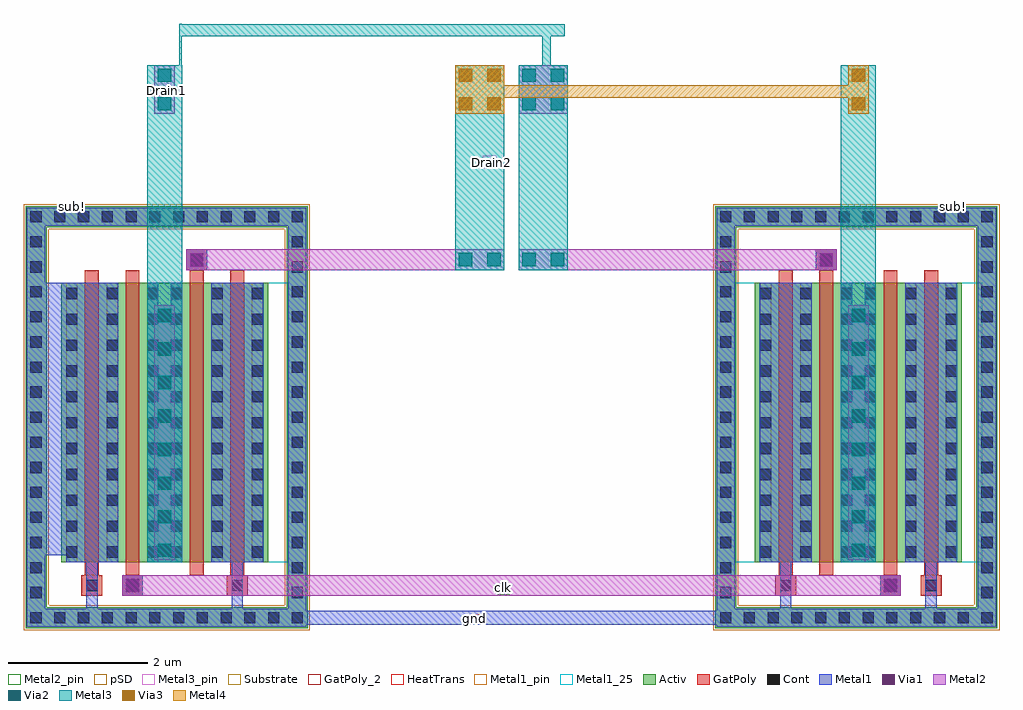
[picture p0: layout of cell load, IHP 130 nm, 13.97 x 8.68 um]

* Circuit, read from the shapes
.subckt load Drain1 Drain2 clk gnd
XM1 gnd gnd gnd gnd sg13_lv_nmos w=4u l=0.2u m=4
XM2 Drain1 clk gnd gnd sg13_lv_nmos w=4u l=0.2u
XM3 gnd Drain2 Drain1 gnd sg13_lv_nmos w=4u l=0.2u
XM4 Drain2 Drain1 gnd gnd sg13_lv_nmos w=4u l=0.2u
XM5 gnd clk Drain2 gnd sg13_lv_nmos w=4u l=0.2u
.ends

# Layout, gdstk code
from math import pi, radians
import gdstk
lib = gdstk.Library(unit=1e-6, precision=1e-09)
def R(c, l, rs):  # rectangles x0, y0, x1, y1
    for r in rs: c.add(gdstk.rectangle(r[:2], r[2:], *l))
def A(c, l, x, y, w, h, nx, ny, dx, dy):  # array of equal rectangles
    R(c, l, [(x+i*dx, y+j*dy, x+i*dx+w, y+j*dy+h) for i in range(nx) for j in range(ny)])
def P(c, l, *ps):  # polygons
    for p in ps: c.add(gdstk.Polygon(p, *l))
Activ = (1, 0)
GatPoly = (5, 0)
GatPoly_2 = (5, 2)
Cont = (6, 0)
Metal1 = (8, 0)
Metal1_pin = (8, 2)
Metal1_25 = (8, 25)
Metal2 = (10, 0)
Metal2_pin = (10, 2)
pSD = (14, 0)
Via1 = (19, 0)
Via2 = (29, 0)
Metal3 = (30, 0)
Metal3_pin = (30, 2)
Substrate = (40, 0)
Via3 = (49, 0)
Metal4 = (50, 0)
HeatTrans = (51, 0)

nmos_1 = lib.new_cell('nmos$1')
R(nmos_1, Activ, [(0,0,0.3,0.3), (0,0,0.88,4), (0.58,0,0.88,0.3)])
R(nmos_1, GatPoly, [(0.34,-0.18,0.54,4.18)])
R(nmos_1, GatPoly_2, [(0.34,-0.18,0.54,4.18)])
A(nmos_1, Cont, 0.07, 0.07, 0.16, 0.16, 1, 11, 0, 0.37)
A(nmos_1, Cont, 0.65, 0.07, 0.16, 0.16, 1, 11, 0, 0.37)
R(nmos_1, Metal1, [(0.07,0,0.23,4), (0.65,0,0.81,4)])
R(nmos_1, Metal1_pin, [(0.07,0,0.23,4), (0.65,0,0.81,4)])
R(nmos_1, HeatTrans, [(0.34,-0.18,0.54,4.18)])
nmos_1.add(gdstk.Label('nmos', (0.44,2), layer=63, texttype=0))
nmos_1.add(gdstk.Label('nmos', (0.44,2), layer=51, texttype=0))

via_stack_8 = lib.new_cell('via_stack$8')
R(via_stack_8, Metal1, [(-0.145,-1.825,0.145,1.825)])
R(via_stack_8, Metal2, [(-0.145,-1.825,0.145,1.825)])
A(via_stack_8, Via1, -0.095, -1.775, 0.19, 0.19, 1, 8, 0, 0.48)
A(via_stack_8, Via2, -0.095, -1.775, 0.19, 0.19, 1, 8, 0, 0.48)
R(via_stack_8, Metal3, [(-0.145,-1.825,0.145,1.825)])

gring = lib.new_cell('gring')
P(gring, Activ, [(0.03,0.03),(0.03,5.77),(0.33,5.77),(0.33,0.33),(3.77,0.33),(3.77,5.77),(0.03,5.77),(0.03,6.07),(4.07,6.07),(4.07,0.03)])
A(gring, Cont, 0.1, 0.1, 0.16, 0.16, 12, 2, 0.34, 5.74)
A(gring, Cont, 0.1, 0.815, 0.16, 0.16, 1, 4, 0, 0.36)
A(gring, Cont, 3.84, 0.815, 0.16, 0.16, 1, 4, 0, 0.36)
A(gring, Cont, 0.1, 2.25, 0.16, 0.16, 1, 4, 0, 0.36)
A(gring, Cont, 3.84, 2.25, 0.16, 0.16, 1, 4, 0, 0.36)
A(gring, Cont, 0.1, 3.685, 0.16, 0.16, 1, 4, 0, 0.36)
A(gring, Cont, 3.84, 3.685, 0.16, 0.16, 1, 4, 0, 0.36)
A(gring, Cont, 0.1, 5.12, 0.16, 0.16, 1, 3, 0, 0.36)
A(gring, Cont, 3.84, 5.12, 0.16, 0.16, 1, 3, 0, 0.36)
R(gring, Cont, [(0.1,0.1,0.26,0.26), (3.84,0.1,4,0.26), (0.1,0.46,0.26,0.62), (3.84,0.46,4,0.62)])
P(gring, Metal1, [(0.05,0.05),(0.05,5.79),(0.31,5.79),(0.31,0.31),(3.79,0.31),(3.79,5.79),(0.05,5.79),(0.05,6.05),(4.05,6.05),(4.05,0.05)])
P(gring, pSD, [(0,0),(0,5.74),(0.36,5.74),(0.36,0.36),(3.74,0.36),(3.74,5.74),(0,5.74),(0,6.1),(4.1,6.1),(4.1,0)])

via_stack = lib.new_cell('via_stack')
R(via_stack, Metal2, [(-0.35,-0.145,0.35,0.145)])
R(via_stack, Via2, [(-0.3,-0.095,-0.11,0.095), (0.11,-0.095,0.3,0.095)])
R(via_stack, Metal3, [(-0.35,-0.145,0.35,0.145)])

via_stack_7 = lib.new_cell('via_stack$7')
R(via_stack_7, Metal3, [(-0.35,-0.35,0.35,0.35)])
R(via_stack_7, Via3, [(-0.3,-0.3,-0.11,-0.11), (0.11,-0.3,0.3,-0.11), (-0.3,0.11,-0.11,0.3), (0.11,0.11,0.3,0.3)])
R(via_stack_7, Metal4, [(-0.35,-0.35,0.35,0.35)])

via_stack_4 = lib.new_cell('via_stack$4')
R(via_stack_4, Metal2, [(-0.145,-0.35,0.145,0.35)])
R(via_stack_4, Via2, [(-0.095,-0.3,0.095,-0.11), (-0.095,0.11,0.095,0.3)])
R(via_stack_4, Metal3, [(-0.145,-0.35,0.145,0.35)])

via_stack_5 = lib.new_cell('via_stack$5')
R(via_stack_5, Metal3, [(-0.145,-0.35,0.145,0.35)])
R(via_stack_5, Via3, [(-0.095,-0.3,0.095,-0.11), (-0.095,0.11,0.095,0.3)])
R(via_stack_5, Metal4, [(-0.145,-0.35,0.145,0.35)])

via_stack_6 = lib.new_cell('via_stack$6')
R(via_stack_6, Metal2, [(-0.35,-0.35,0.35,0.35)])
R(via_stack_6, Via2, [(-0.3,-0.3,-0.11,-0.11), (0.11,-0.3,0.3,-0.11), (-0.3,0.11,-0.11,0.3), (0.11,0.11,0.3,0.3)])
R(via_stack_6, Metal3, [(-0.35,-0.35,0.35,0.35)])

load = lib.new_cell('load')
R(load, Activ, [(5.105,9.08,5.145,11.08), (5.105,9.08,5.145,11.08), (5.105,9.08,5.145,11.08), (5.105,9.08,5.145,11.08), (6.025,9.08,6.065,11.08), (6.025,9.08,6.065,11.08), (6.025,9.08,6.065,13.08), (6.025,9.08,6.065,13.08), (6.945,9.08,6.985,11.08), (6.945,9.08,6.985,11.08), (6.945,9.08,6.985,11.08), (6.945,9.08,6.985,11.08), (15.035,9.08,15.075,11.08), (15.035,9.08,15.075,11.08), (15.035,9.08,15.075,11.08), (15.035,9.08,15.075,11.08), (15.955,9.08,15.995,11.08), (15.955,9.08,15.995,11.08), (15.955,9.08,15.995,13.08), (15.955,9.08,15.995,13.08), (16.875,9.08,16.915,11.08), (16.875,9.08,16.915,11.08), (16.875,9.08,16.915,11.08), (16.875,9.08,16.915,11.08)])
R(load, GatPoly, [(4.855,8.6,5.155,8.9), (4.855,8.6,5.155,8.9), (4.855,8.6,5.155,8.9), (4.855,8.6,5.155,8.9), (5.435,8.6,5.735,8.9), (5.435,8.6,5.735,8.9), (5.435,8.6,5.735,8.9), (5.435,8.6,5.735,8.9), (6.935,8.6,7.235,8.9), (6.935,8.6,7.235,8.9), (6.935,8.6,7.235,8.9), (6.935,8.6,7.235,8.9), (14.785,8.6,15.085,8.9), (14.785,8.6,15.085,8.9), (14.785,8.6,15.085,8.9), (14.785,8.6,15.085,8.9), (16.285,8.6,16.585,8.9), (16.285,8.6,16.585,8.9), (16.285,8.6,16.585,8.9), (16.285,8.6,16.585,8.9), (16.865,8.6,17.165,8.9), (16.865,8.6,17.165,8.9), (16.865,8.6,17.165,8.9), (16.865,8.6,17.165,8.9), (6.355,13.26,6.655,13.56), (6.355,13.26,6.655,13.56), (6.355,13.26,6.655,13.56), (6.355,13.26,6.655,13.56), (15.365,13.26,15.665,13.56), (15.365,13.26,15.665,13.56), (15.365,13.26,15.665,13.56), (15.365,13.26,15.665,13.56)])
R(load, Cont, [(4.925,8.67,5.085,8.83), (4.925,8.67,5.085,8.83), (4.925,8.67,5.085,8.83), (4.925,8.67,5.085,8.83), (5.505,8.67,5.665,8.83), (5.505,8.67,5.665,8.83), (5.505,8.67,5.665,8.83), (5.505,8.67,5.665,8.83), (7.005,8.67,7.165,8.83), (7.005,8.67,7.165,8.83), (7.005,8.67,7.165,8.83), (7.005,8.67,7.165,8.83), (14.855,8.67,15.015,8.83), (14.855,8.67,15.015,8.83), (14.855,8.67,15.015,8.83), (14.855,8.67,15.015,8.83), (16.355,8.67,16.515,8.83), (16.355,8.67,16.515,8.83), (16.355,8.67,16.515,8.83), (16.355,8.67,16.515,8.83), (16.935,8.67,17.095,8.83), (16.935,8.67,17.095,8.83), (16.935,8.67,17.095,8.83), (16.935,8.67,17.095,8.83), (6.425,13.33,6.585,13.49), (6.425,13.33,6.585,13.49), (6.425,13.33,6.585,13.49), (6.425,13.33,6.585,13.49), (15.435,13.33,15.595,13.49), (15.435,13.33,15.595,13.49), (15.435,13.33,15.595,13.49), (15.435,13.33,15.595,13.49)])
R(load, Metal1, [(7.855,8.19,14.235,8.39), (4.925,8.42,5.085,9.08), (7.005,8.42,7.165,9.08), (14.855,8.42,15.015,9.08), (16.935,8.42,17.095,9.08), (5.435,8.6,5.735,8.9), (16.285,8.6,16.585,8.9), (4.635,9.08,5.38,13.08), (6.715,9.08,7.455,13.08), (14.565,9.08,15.305,13.08), (16.645,9.08,17.385,13.08), (4.075,9.18,4.635,13.08), (6.355,13.26,6.655,13.56), (15.365,13.26,15.665,13.56)])
R(load, Metal1_pin, [(10.4,8.22,10.555,8.34)])
R(load, Metal1_25, [(7.455,9.08,7.815,13.08), (14.205,9.08,14.565,13.08), (17.385,9.08,17.745,13.08)])
R(load, Metal2, [(5.435,8.6,16.285,8.9), (16.285,8.6,16.585,8.9), (6.355,13.26,10.905,13.56), (11.115,13.26,15.665,13.56)])
R(load, Metal2_pin, [(10.815,8.615,10.985,8.78)])
R(load, Via1, [(5.49,8.655,5.68,8.845), (16.34,8.655,16.53,8.845), (6.41,13.315,6.6,13.505), (15.42,13.315,15.61,13.505)])
R(load, Metal3, [(5.795,9.08,6.295,16.2), (15.725,9.08,16.225,16.2), (10.205,13.26,10.905,16.2), (11.115,13.26,11.815,16.2), (11.45,16.05,11.575,16.725), (6.255,16.17,6.29,16.79), (6.27,16.61,11.775,16.785)])
R(load, Metal3_pin, [(10.6,14.725,10.79,14.9), (5.95,15.76,6.14,15.935)])
R(load, Substrate, [(4.055,8.14,4.355,13.88), (4.355,8.14,8.095,8.44), (13.925,8.14,14.225,13.88), (14.225,8.14,17.965,8.44), (7.795,8.44,8.095,13.88), (17.665,8.44,17.965,13.88), (4.055,13.88,8.095,14.18), (13.925,13.88,17.965,14.18)])
R(load, Metal4, [(10.465,15.73,15.955,15.91)])
load.add(gdstk.Reference(nmos_1, (5.145,9.08)))
load.add(gdstk.Reference(nmos_1, (6.065,9.08)))
load.add(gdstk.Reference(nmos_1, (6.645,9.08)))
load.add(gdstk.Reference(nmos_1, (4.565,9.08)))
load.add(gdstk.Reference(via_stack_8, (6.045,10.935)))
load.add(gdstk.Reference(via_stack_8, (15.975,10.935)))
load.add(gdstk.Reference(gring, (4.025,8.11)))
load.add(gdstk.Reference(gring, (17.995,8.11), rotation=pi, x_reflection=True))
load.add(gdstk.Reference(via_stack, (10.555,13.415)))
load.add(gdstk.Reference(via_stack, (11.465,13.415)))
load.add(gdstk.Reference(nmos_1, (4.565,9.08)))
load.add(gdstk.Reference(nmos_1, (6.645,9.08)))
load.add(gdstk.Reference(nmos_1, (6.065,9.08)))
load.add(gdstk.Reference(nmos_1, (16.875,9.08), rotation=pi, x_reflection=True))
load.add(gdstk.Reference(nmos_1, (15.955,9.08), rotation=pi, x_reflection=True))
load.add(gdstk.Reference(nmos_1, (15.375,9.08), rotation=pi, x_reflection=True))
load.add(gdstk.Reference(nmos_1, (17.455,9.08), rotation=pi, x_reflection=True))
load.add(gdstk.Reference(nmos_1, (17.455,9.08), rotation=pi, x_reflection=True))
load.add(gdstk.Reference(nmos_1, (15.375,9.08), rotation=pi, x_reflection=True))
load.add(gdstk.Reference(nmos_1, (15.955,9.08), rotation=pi, x_reflection=True))
load.add(gdstk.Reference(nmos_1, (16.875,9.08), rotation=pi, x_reflection=True))
load.add(gdstk.Reference(via_stack_7, (10.555,15.85)))
load.add(gdstk.Reference(via_stack_4, (6.045,15.85)))
load.add(gdstk.Reference(via_stack_5, (15.975,15.85)))
load.add(gdstk.Reference(via_stack_6, (11.465,15.85)))
load.add(gdstk.Label('sub!', (4.72,14.18), layer=63, texttype=0))
load.add(gdstk.Label('sub!', (17.34,14.18), layer=63, texttype=0))
load.add(gdstk.Label('gnd', (10.475,8.275), layer=8, texttype=25))
load.add(gdstk.Label('clk', (10.895,8.715), layer=10, texttype=25))
load.add(gdstk.Label('Drain1', (6.07,15.835), layer=30, texttype=25))
load.add(gdstk.Label('Drain2', (10.72,14.8), layer=30, texttype=25))

lib.write_gds('load.gds')
